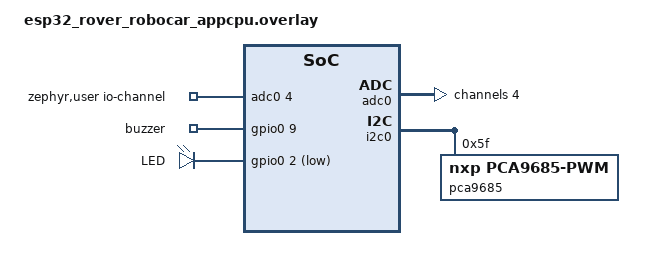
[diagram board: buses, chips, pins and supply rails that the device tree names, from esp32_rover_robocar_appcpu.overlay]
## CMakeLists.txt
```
# boilerplate cmake
cmake_minimum_required(VERSION 3.20.0)

# import custom board package
list(APPEND BOARD_ROOT ${CMAKE_CURRENT_SOURCE_DIR}/../../)

# import overlays for CPUs
# if(DEFINED BOARD_ESP32_ROVER_PROCPU)
#     set(DTC_OVERLAY_FILE ${CMAKE_CURRENT_SOURCE_DIR}/applications/app_core/esp32_rover_robocar_procpu.overlay)
# elseif(DEFINED BOARD_ESP32_ROVER_APPCPU)
    set(DTC_OVERLAY_FILE ${CMAKE_CURRENT_SOURCE_DIR}/esp32_rover_robocar_appcpu.overlay)
# endif()

# import zephyr package; this is required for ZephyrOS cmake system to work
find_package(Zephyr REQUIRED HINTS $ENV{ZEPHYR_BASE})
project(ESP32_ROVER_APPCPU)

file(GLOB_RECURSE srcs ${CMAKE_CURRENT_SOURCE_DIR}/src/*.c*)

target_sources(app PRIVATE ${srcs})
```

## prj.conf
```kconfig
# CPP Settings
CONFIG_CPP=y
CONFIG_STD_CPP2B=y
CONFIG_REQUIRES_FULL_LIBCPP=y

# shell settings
CONFIG_SHELL=y
CONFIG_SHELL_PROMPT_UART="CarOS:~$ "

# application settings
CONFIG_MAIN_STACK_SIZE=2048

# logging settings
CONFIG_LOG=y
# CONFIG_LOG_BACKEND_UART=y

# Peripherals
CONFIG_ADC=y
CONFIG_ADC_SHELL=y

CONFIG_GPIO=y
CONFIG_GPIO_SHELL=y

CONFIG_I2C=y
CONFIG_I2C_SHELL=y

CONFIG_PWM=y
CONFIG_PWM_SHELL=y
CONFIG_PWM_PCA9685=y

# todo: Enabling PM disables shell; find out why
# CONFIG_PM=y
# CONFIG_PM_SHELL=y

# CONFIG_WS2812_STRIP_GPIO=y
# CONFIG_LED_STRIP=y
```

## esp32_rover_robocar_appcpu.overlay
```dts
/**
 * @brief ESP32 Rover Kit DTS Overlay File
 */
#include <zephyr/dt-bindings/led/led.h>

/ {
    zephyr,user {
        io-channels = <&adc0 4>;
    };

    chosen {
        zephyr,adc = &adc0;
    };

    buzzers {
        compatible = "gpio-leds";

        buzzer0: buzzer_0 {
            gpios = <&gpio0 9 GPIO_ACTIVE_HIGH>;
            label = "buzzer";
        };
    };

    leds {
        compatible = "gpio-leds";

        led0: led_0 {
            gpios = <&gpio0 2 GPIO_ACTIVE_LOW>;
            label = "LED";
        };
    };

    // led_strip: ws2812 {
        //     compatible = "worldsemi,ws2812-gpio";
        //     chain-length = <12>; /* arbitrary */
        //     color-mapping = <LED_COLOR_ID_GREEN
        //     LED_COLOR_ID_RED
        //     LED_COLOR_ID_BLUE>;
        //     gpios = <&gpio0 32 0>;
    // };

    aliases
    {
        // led-strip = &led_strip;
        adc0 = &adc0;
        pca9685 = &pca9685;
        buzzer0 = &buzzer0;
        led0 = &led0;
    };
};

&adc0 {
    status = "okay";
    #address-cells = <1>;
    #size-cells = <0>;

    compatible = "espressif,esp32-adc";
    unit = <0>;

    channel@4 {
        /* Battery Monitor ADC instance */
        reg = <4>;
        zephyr,gain = "ADC_GAIN_1_6";
        zephyr,reference = "ADC_REF_INTERNAL";
        zephyr,acquisition-time = <ADC_ACQ_TIME(ADC_ACQ_TIME_MICROSECONDS, 20)>;
        zephyr,resolution = <12>;
    };
};

&i2c0 {
    status = "okay";

    /* PCA9685 PWM driver */
    pca9685: pca9685@5f {
        compatible = "nxp,pca9685-pwm";
        #pwm-cells = <2>;
        reg = <0x5f>;
        status = "okay";
    };
};
```

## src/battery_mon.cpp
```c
namespace robocar {

class battery_mon
{
  private:
  public:
};

} // namespace robocar
```

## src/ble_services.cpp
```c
/* main.c - Application main entry point */

/*
 * Copyright (c) 2015-2016 Intel Corporation
 *
 * SPDX-License-Identifier: Apache-2.0
 */

#include <zephyr/types.h>
#include <stddef.h>
#include <zephyr/sys/printk.h>
#include <zephyr/sys/util.h>

#include <zephyr/bluetooth/bluetooth.h>

static uint8_t mfg_data[] = { 0xff, 0xff, 0x00 };

static const struct bt_data ad[] = {
    BT_DATA(BT_DATA_MANUFACTURER_DATA, mfg_data, 3),
};

static void scan_cb(const bt_addr_le_t* addr, int8_t rssi, uint8_t adv_type, struct net_buf_simple* buf)
{
    mfg_data[2]++;
}

int ble_adv_fn(void)
{
    // struct bt_le_scan_param scan_param = {
    //     .type = BT_LE_SCAN_TYPE_PASSIVE,
    //     .options = BT_LE_SCAN_OPT_NONE,
    //     .interval = 0x0010,
    //     .window = 0x0010,
    // };
    int err;

    // printk("Starting Scanner/Advertiser Demo\n");

    /* Initialize the Bluetooth Subsystem */
    err = bt_enable(NULL);
    if (err) {
        printk("Bluetooth init failed (err %d)\n", err);
        return 0;
    }

    printk("Bluetooth initialized\n");

    // err = bt_le_scan_start(&scan_param, scan_cb);
    // if (err) {
    //     printk("Starting scanning failed (err %d)\n", err);
    //     return 0;
    // }

    do {
        k_sleep(K_MSEC(400));

        /* Start advertising */
        err = bt_le_adv_start(BT_LE_ADV_NCONN, ad, ARRAY_SIZE(ad), NULL, 0);
        if (err) {
            printk("Advertising failed to start (err %d)\n", err);
            return 0;
        }

        k_sleep(K_MSEC(400));

        err = bt_le_adv_stop();
        if (err) {
            printk("Advertising failed to stop (err %d)\n", err);
            return 0;
        }
    }
    while (1);
    return 0;
}

K_THREAD_DEFINE(ble_adv, 512u, ble_adv_fn, NULL, NULL, NULL, 2u, 0, 0);
```

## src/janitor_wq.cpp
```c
/**
 * @brief Janitor Workqueue
 *
 * This takes care of any and all maintainance tasks.
 *
 *
 */

#include <zephyr/logging/log.h>
#include <zephyr/kernel.h>

LOG_MODULE_DECLARE(JANITOR);

namespace robocar {

class janitor_wq
{
  private:
    /* data */
  public:
    janitor_wq(/* args */);
    ~janitor_wq();
};

janitor_wq::janitor_wq(/* args */) {}

janitor_wq::~janitor_wq() {}

} // namespace robocar
```
